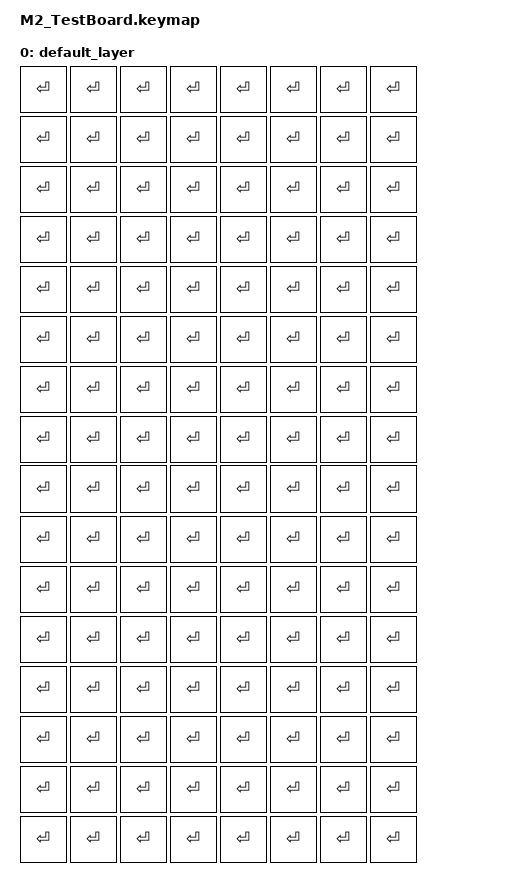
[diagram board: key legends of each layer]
#include <behaviors.dtsi>
#include <dt-bindings/zmk/keys.h>
#include <dt-bindings/zmk/bt.h>
#include <dt-bindings/zmk/outputs.h>
#include <dt-bindings/zmk/rgb.h>
#include <dt-bindings/zmk/ext_power.h>

#define DEF 0
#define MAC 1
#define ADJ 2
#define SET 3

/ {
    keymap {
        compatible = "zmk,keymap";

        default_layer {
bindings = <
	&kp RET &kp RET &kp RET &kp RET &kp RET &kp RET &kp RET &kp RET
	&kp RET &kp RET &kp RET &kp RET &kp RET &kp RET &kp RET &kp RET
	&kp RET &kp RET &kp RET &kp RET &kp RET &kp RET &kp RET &kp RET
	&kp RET &kp RET &kp RET &kp RET &kp RET &kp RET &kp RET &kp RET
	&kp RET &kp RET &kp RET &kp RET &kp RET &kp RET &kp RET &kp RET
	&kp RET &kp RET &kp RET &kp RET &kp RET &kp RET &kp RET &kp RET
	&kp RET &kp RET &kp RET &kp RET &kp RET &kp RET &kp RET &kp RET
	&kp RET &kp RET &kp RET &kp RET &kp RET &kp RET &kp RET &kp RET
	&kp RET &kp RET &kp RET &kp RET &kp RET &kp RET &kp RET &kp RET
	&kp RET &kp RET &kp RET &kp RET &kp RET &kp RET &kp RET &kp RET
	&kp RET &kp RET &kp RET &kp RET &kp RET &kp RET &kp RET &kp RET
	&kp RET &kp RET &kp RET &kp RET &kp RET &kp RET &kp RET &kp RET
	&kp RET &kp RET &kp RET &kp RET &kp RET &kp RET &kp RET &kp RET
	&kp RET &kp RET &kp RET &kp RET &kp RET &kp RET &kp RET &kp RET
	&kp RET &kp RET &kp RET &kp RET &kp RET &kp RET &kp RET &kp RET
	&kp RET &kp RET &kp RET &kp RET &kp RET &kp RET &kp RET &kp RET
>;
// sensor-bindings = <&inc_dec_kp C_VOL_DN C_VOL_UP>;
        };

    };
};
